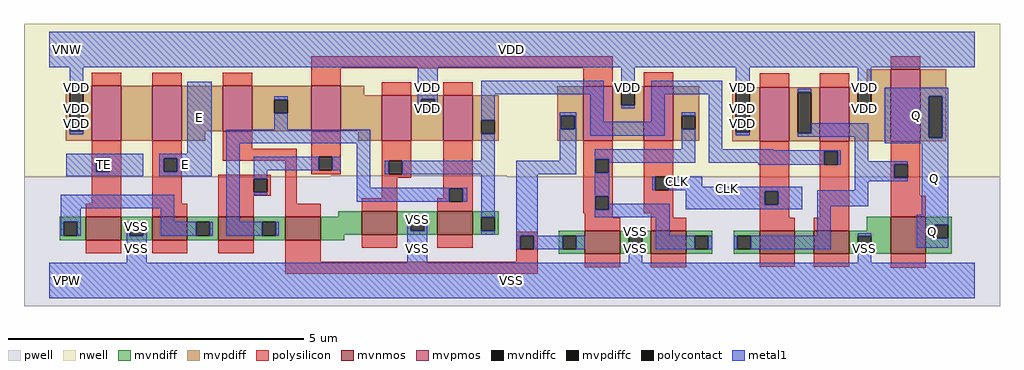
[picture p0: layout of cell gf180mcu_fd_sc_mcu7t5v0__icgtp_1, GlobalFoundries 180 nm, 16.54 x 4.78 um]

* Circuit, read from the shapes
.subckt gf180mcu_fd_sc_mcu7t5v0__icgtp_1 CLK E TE Q VDD VNW VPW VSS
XM1 VSS TE n1 VPW nfet_06v0 w=0.395u l=0.6u
XM2 n1 E VSS VPW nfet_06v0 w=0.395u l=0.6u
XM3 n2 n3 n1 VPW nfet_06v0 w=0.395u l=0.6u
XM4 n4 n5 n2 VPW nfet_06v0 w=0.395u l=0.6u
XM5 VSS n6 n4 VPW nfet_06v0 w=0.395u l=0.6u
XM6 n6 n2 VSS VPW nfet_06v0 w=0.395u l=0.6u
XM7 VSS n3 n5 VPW nfet_06v0 w=0.39u l=0.6u
XM8 n3 CLK VSS VPW nfet_06v0 w=0.39u l=0.6u
XM9 n7 CLK n8 VPW nfet_06v0 w=0.39u l=0.6u
XM10 VSS n6 n7 VPW nfet_06v0 w=0.39u l=0.6u
XM11 Q n8 VSS VPW nfet_06v0 w=0.63u l=0.6u
XM12 n9 TE VDD VNW pfet_06v0 w=0.925u l=0.5u
XM13 n10 E n9 VNW pfet_06v0 w=0.925u l=0.5u
XM14 n2 n5 n10 VNW pfet_06v0 w=0.765u l=0.5u
XM15 n11 n3 n2 VNW pfet_06v0 w=0.765u l=0.5u
XM16 VDD n6 n11 VNW pfet_06v0 w=0.765u l=0.5u
XM17 n6 n2 VDD VNW pfet_06v0 w=0.765u l=0.5u
XM18 VDD n3 n5 VNW pfet_06v0 w=0.92u l=0.5u
XM19 n3 CLK VDD VNW pfet_06v0 w=0.92u l=0.5u
XM20 n8 CLK VDD VNW pfet_06v0 w=0.92u l=0.5u
XM21 VDD n6 n8 VNW pfet_06v0 w=0.92u l=0.5u
XM22 Q n8 VDD VNW pfet_06v0 w=1.22u l=0.5u
.ends

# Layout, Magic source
magic
tech gf180mcuD
magscale 1 10
<< nwell >>
rect -86 355 3222 870
rect -86 352 952 355
rect 1550 352 3222 355
<< pwell >>
rect 952 352 1550 355
rect -86 -86 3222 352
<< mvnmos >>
rect 124 137 244 216
rect 348 137 468 216
rect 572 137 692 216
rect 799 137 919 216
rect 1059 156 1179 235
rect 1315 156 1435 235
rect 1815 91 1935 169
rect 2039 91 2159 169
rect 2407 91 2527 169
rect 2591 91 2711 169
rect 2851 91 2971 217
<< mvpmos >>
rect 144 475 244 660
rect 348 475 448 660
rect 588 507 688 660
rect 887 507 987 660
rect 1127 475 1227 628
rect 1335 475 1435 628
rect 1809 475 1909 659
rect 2014 475 2114 659
rect 2407 472 2507 656
rect 2611 472 2711 656
rect 2851 472 2951 716
<< mvndiff >>
rect 979 216 1059 235
rect 36 199 124 216
rect 36 153 49 199
rect 95 153 124 199
rect 36 137 124 153
rect 244 199 348 216
rect 244 153 273 199
rect 319 153 348 199
rect 244 137 348 153
rect 468 199 572 216
rect 468 153 497 199
rect 543 153 572 199
rect 468 137 572 153
rect 692 199 799 216
rect 692 153 721 199
rect 767 153 799 199
rect 692 137 799 153
rect 919 156 1059 216
rect 1179 215 1315 235
rect 1179 169 1224 215
rect 1270 169 1315 215
rect 1179 156 1315 169
rect 1435 215 1523 235
rect 1435 169 1464 215
rect 1510 169 1523 215
rect 2771 169 2851 217
rect 1435 156 1523 169
rect 919 137 999 156
rect 1727 152 1815 169
rect 1727 106 1740 152
rect 1786 106 1815 152
rect 1727 91 1815 106
rect 1935 152 2039 169
rect 1935 106 1964 152
rect 2010 106 2039 152
rect 1935 91 2039 106
rect 2159 152 2247 169
rect 2159 106 2188 152
rect 2234 106 2247 152
rect 2159 91 2247 106
rect 2319 152 2407 169
rect 2319 106 2332 152
rect 2378 106 2407 152
rect 2319 91 2407 106
rect 2527 91 2591 169
rect 2711 150 2851 169
rect 2711 104 2740 150
rect 2786 104 2851 150
rect 2711 91 2851 104
rect 2971 189 3059 217
rect 2971 143 3000 189
rect 3046 143 3059 189
rect 2971 91 3059 143
<< mvpdiff >>
rect 56 647 144 660
rect 56 507 69 647
rect 115 507 144 647
rect 56 475 144 507
rect 244 475 348 660
rect 448 507 588 660
rect 688 614 887 660
rect 688 568 762 614
rect 808 568 887 614
rect 688 507 887 568
rect 987 628 1067 660
rect 987 507 1127 628
rect 448 475 528 507
rect 1047 475 1127 507
rect 1227 615 1335 628
rect 1227 569 1260 615
rect 1306 569 1335 615
rect 1227 475 1335 569
rect 1435 544 1523 628
rect 1435 498 1464 544
rect 1510 498 1523 544
rect 1435 475 1523 498
rect 1721 559 1809 659
rect 1721 513 1734 559
rect 1780 513 1809 559
rect 1721 475 1809 513
rect 1909 641 2014 659
rect 1909 595 1938 641
rect 1984 595 2014 641
rect 1909 475 2014 595
rect 2114 559 2202 659
rect 2771 656 2851 716
rect 2114 513 2143 559
rect 2189 513 2202 559
rect 2114 475 2202 513
rect 2314 643 2407 656
rect 2314 503 2327 643
rect 2373 503 2407 643
rect 2314 472 2407 503
rect 2507 639 2611 656
rect 2507 499 2536 639
rect 2582 499 2611 639
rect 2507 472 2611 499
rect 2711 640 2851 656
rect 2711 594 2740 640
rect 2786 594 2851 640
rect 2711 472 2851 594
rect 2951 625 3039 716
rect 2951 485 2980 625
rect 3026 485 3039 625
rect 2951 472 3039 485
<< mvndiffc >>
rect 49 153 95 199
rect 273 153 319 199
rect 497 153 543 199
rect 721 153 767 199
rect 1224 169 1270 215
rect 1464 169 1510 215
rect 1740 106 1786 152
rect 1964 106 2010 152
rect 2188 106 2234 152
rect 2332 106 2378 152
rect 2740 104 2786 150
rect 3000 143 3046 189
<< mvpdiffc >>
rect 69 507 115 647
rect 762 568 808 614
rect 1260 569 1306 615
rect 1464 498 1510 544
rect 1734 513 1780 559
rect 1938 595 1984 641
rect 2143 513 2189 559
rect 2327 503 2373 643
rect 2536 499 2582 639
rect 2740 594 2786 640
rect 2980 485 3026 625
<< polysilicon >>
rect 887 720 1909 760
rect 144 660 244 704
rect 348 660 448 704
rect 588 660 688 704
rect 887 660 987 720
rect 1127 628 1227 672
rect 1335 628 1435 672
rect 1809 659 1909 720
rect 2851 716 2951 760
rect 2014 659 2114 706
rect 144 415 244 475
rect 144 369 159 415
rect 205 369 244 415
rect 144 260 244 369
rect 124 216 244 260
rect 348 415 448 475
rect 348 369 387 415
rect 433 369 448 415
rect 588 447 688 507
rect 588 407 839 447
rect 348 260 448 369
rect 572 346 751 359
rect 572 300 692 346
rect 738 300 751 346
rect 572 287 751 300
rect 348 216 468 260
rect 572 216 692 287
rect 799 260 839 407
rect 887 420 987 507
rect 2407 656 2507 703
rect 2611 656 2711 703
rect 887 374 913 420
rect 959 374 987 420
rect 887 361 987 374
rect 1127 407 1227 475
rect 1127 361 1150 407
rect 1196 361 1227 407
rect 1127 348 1227 361
rect 1127 279 1179 348
rect 1335 314 1435 475
rect 1335 279 1355 314
rect 799 216 919 260
rect 1059 235 1179 279
rect 1315 268 1355 279
rect 1401 268 1435 314
rect 1315 235 1435 268
rect 1809 411 1909 475
rect 1809 365 1850 411
rect 1896 365 1909 411
rect 1809 286 1909 365
rect 1809 240 1850 286
rect 1896 240 1909 286
rect 1809 229 1909 240
rect 2014 353 2114 475
rect 2014 307 2054 353
rect 2100 307 2114 353
rect 2014 229 2114 307
rect 1815 214 1909 229
rect 2039 214 2114 229
rect 2407 303 2507 472
rect 2407 257 2425 303
rect 2471 257 2507 303
rect 1815 169 1935 214
rect 2039 169 2159 214
rect 2407 213 2507 257
rect 2611 439 2711 472
rect 2611 393 2626 439
rect 2672 393 2711 439
rect 2611 213 2711 393
rect 2851 394 2951 472
rect 2851 348 2864 394
rect 2910 348 2951 394
rect 2851 288 2951 348
rect 2851 217 2971 288
rect 2407 169 2527 213
rect 2591 169 2711 213
rect 124 93 244 137
rect 348 93 468 137
rect 572 93 692 137
rect 799 64 919 137
rect 1059 112 1179 156
rect 1315 112 1435 156
rect 1583 152 1655 165
rect 1583 106 1596 152
rect 1642 106 1655 152
rect 1583 64 1655 106
rect 799 24 1655 64
rect 1815 46 1935 91
rect 2039 46 2159 91
rect 2407 47 2527 91
rect 2591 47 2711 91
rect 2851 44 2971 91
<< polycontact >>
rect 159 369 205 415
rect 387 369 433 415
rect 692 300 738 346
rect 913 374 959 420
rect 1150 361 1196 407
rect 1355 268 1401 314
rect 1850 365 1896 411
rect 1850 240 1896 286
rect 2054 307 2100 353
rect 2425 257 2471 303
rect 2626 393 2672 439
rect 2864 348 2910 394
rect 1596 106 1642 152
<< metal1 >>
rect 0 724 3136 844
rect 69 647 115 724
rect 69 496 115 507
rect 468 430 550 674
rect 762 614 808 625
rect 1249 615 1317 724
rect 1249 569 1260 615
rect 1306 569 1317 615
rect 1464 632 1879 678
rect 762 512 808 568
rect 1464 544 1510 632
rect 58 415 318 430
rect 58 369 159 415
rect 205 369 318 415
rect 58 354 318 369
rect 373 415 550 430
rect 373 369 387 415
rect 433 369 550 415
rect 373 354 550 369
rect 600 466 1087 512
rect 38 245 423 292
rect 38 199 106 245
rect 377 199 423 245
rect 600 199 646 466
rect 692 374 913 420
rect 959 374 987 420
rect 692 346 738 374
rect 692 289 738 300
rect 1041 315 1087 466
rect 1464 407 1510 498
rect 1729 559 1786 570
rect 1729 513 1734 559
rect 1780 513 1786 559
rect 1729 407 1786 513
rect 1833 538 1879 632
rect 1938 641 1984 724
rect 1938 584 1984 595
rect 2040 632 2281 678
rect 2040 538 2086 632
rect 1833 491 2086 538
rect 2143 559 2189 570
rect 2143 445 2189 513
rect 1137 361 1150 407
rect 1196 361 1510 407
rect 1041 314 1416 315
rect 1041 268 1355 314
rect 1401 268 1416 314
rect 1464 215 1510 361
rect 38 153 49 199
rect 95 153 106 199
rect 262 153 273 199
rect 319 153 330 199
rect 377 153 497 199
rect 543 153 554 199
rect 600 153 721 199
rect 767 153 778 199
rect 1213 169 1224 215
rect 1270 169 1281 215
rect 262 60 330 153
rect 1213 60 1281 169
rect 1464 156 1510 169
rect 1583 361 1786 407
rect 1849 411 2189 445
rect 1849 365 1850 411
rect 1896 399 2189 411
rect 2235 445 2281 632
rect 2327 643 2373 724
rect 2327 492 2373 503
rect 2536 639 2582 650
rect 2740 640 2786 724
rect 2740 580 2786 594
rect 2832 625 3046 654
rect 2582 499 2775 534
rect 2536 488 2775 499
rect 2235 442 2453 445
rect 2235 439 2683 442
rect 2235 399 2626 439
rect 1896 365 1897 399
rect 2402 393 2626 399
rect 2672 393 2683 439
rect 2729 405 2775 488
rect 2832 485 2980 625
rect 3026 485 3046 625
rect 2832 466 3046 485
rect 2729 394 2910 405
rect 1583 152 1655 361
rect 1849 286 1897 365
rect 2043 307 2054 353
rect 2100 318 2213 353
rect 2729 348 2864 394
rect 2729 337 2910 348
rect 2100 307 2551 318
rect 2729 307 2775 337
rect 1849 240 1850 286
rect 1896 261 1897 286
rect 2157 303 2551 307
rect 1896 240 2102 261
rect 2157 257 2425 303
rect 2471 257 2551 303
rect 2157 242 2551 257
rect 2602 253 2775 307
rect 1849 215 2102 240
rect 1964 152 2010 169
rect 1583 106 1596 152
rect 1642 106 1740 152
rect 1786 106 1815 152
rect 2056 152 2102 215
rect 2602 152 2648 253
rect 2956 224 3046 466
rect 2940 189 3046 224
rect 2056 106 2188 152
rect 2234 106 2247 152
rect 2319 106 2332 152
rect 2378 106 2648 152
rect 2740 150 2786 161
rect 1964 60 2010 106
rect 2940 143 3000 189
rect 2940 112 3046 143
rect 2740 60 2786 104
rect 0 -60 3136 60
<< labels >>
flabel metal1 s 2832 466 3046 654 0 FreeSans 400 0 0 0 Q
port 4 nsew default output
flabel metal1 s 58 354 318 430 0 FreeSans 400 0 0 0 TE
port 3 nsew default input
flabel metal1 s 0 724 3136 844 0 FreeSans 400 0 0 0 VDD
port 5 nsew power bidirectional abutment
flabel metal1 s 1213 199 1281 215 0 FreeSans 400 0 0 0 VSS
port 8 nsew ground bidirectional abutment
flabel metal1 s 2043 318 2213 353 0 FreeSans 400 0 0 0 CLK
port 1 nsew clock input
flabel metal1 s 468 430 550 674 0 FreeSans 400 0 0 0 E
port 2 nsew default input
flabel nwell s 10 734 110 834 0 FreeSans 400 0 0 0 VNW
port 6 nsew power bidirectional
flabel pwell s 10 -50 110 50 0 FreeSans 400 0 0 0 VPW
port 7 nsew ground bidirectional
rlabel metal1 s 2043 307 2551 318 1 CLK
port 1 nsew clock input
rlabel metal1 s 2157 242 2551 307 1 CLK
port 1 nsew clock input
rlabel metal1 s 373 354 550 430 1 E
port 2 nsew default input
rlabel metal1 s 2956 224 3046 466 1 Q
port 4 nsew default output
rlabel metal1 s 2940 112 3046 224 1 Q
port 4 nsew default output
rlabel metal1 s 2740 584 2786 724 1 VDD
port 5 nsew power bidirectional abutment
rlabel metal1 s 2327 584 2373 724 1 VDD
port 5 nsew power bidirectional abutment
rlabel metal1 s 1938 584 1984 724 1 VDD
port 5 nsew power bidirectional abutment
rlabel metal1 s 1249 584 1317 724 1 VDD
port 5 nsew power bidirectional abutment
rlabel metal1 s 69 584 115 724 1 VDD
port 5 nsew power bidirectional abutment
rlabel metal1 s 2740 580 2786 584 1 VDD
port 5 nsew power bidirectional abutment
rlabel metal1 s 2327 580 2373 584 1 VDD
port 5 nsew power bidirectional abutment
rlabel metal1 s 1249 580 1317 584 1 VDD
port 5 nsew power bidirectional abutment
rlabel metal1 s 69 580 115 584 1 VDD
port 5 nsew power bidirectional abutment
rlabel metal1 s 2327 569 2373 580 1 VDD
port 5 nsew power bidirectional abutment
rlabel metal1 s 1249 569 1317 580 1 VDD
port 5 nsew power bidirectional abutment
rlabel metal1 s 69 569 115 580 1 VDD
port 5 nsew power bidirectional abutment
rlabel metal1 s 2327 496 2373 569 1 VDD
port 5 nsew power bidirectional abutment
rlabel metal1 s 69 496 115 569 1 VDD
port 5 nsew power bidirectional abutment
rlabel metal1 s 2327 492 2373 496 1 VDD
port 5 nsew power bidirectional abutment
rlabel metal1 s 1213 169 1281 199 1 VSS
port 8 nsew ground bidirectional abutment
rlabel metal1 s 262 169 330 199 1 VSS
port 8 nsew ground bidirectional abutment
rlabel metal1 s 1964 161 2010 169 1 VSS
port 8 nsew ground bidirectional abutment
rlabel metal1 s 1213 161 1281 169 1 VSS
port 8 nsew ground bidirectional abutment
rlabel metal1 s 262 161 330 169 1 VSS
port 8 nsew ground bidirectional abutment
rlabel metal1 s 2740 60 2786 161 1 VSS
port 8 nsew ground bidirectional abutment
rlabel metal1 s 1964 60 2010 161 1 VSS
port 8 nsew ground bidirectional abutment
rlabel metal1 s 1213 60 1281 161 1 VSS
port 8 nsew ground bidirectional abutment
rlabel metal1 s 262 60 330 161 1 VSS
port 8 nsew ground bidirectional abutment
rlabel metal1 s 0 -60 3136 60 1 VSS
port 8 nsew ground bidirectional abutment
<< properties >>
string FIXED_BBOX 0 0 3136 784
string GDS_END 458006
string GDS_FILE $PDKPATH/libs.ref/gf180mcu_fd_sc_mcu7t5v0/gds/gf180mcu_fd_sc_mcu7t5v0.gds
string GDS_START 450740
string LEFclass core
string LEFsite GF018hv5v_mcu_sc7
string LEFsymmetry X Y
<< end >>
